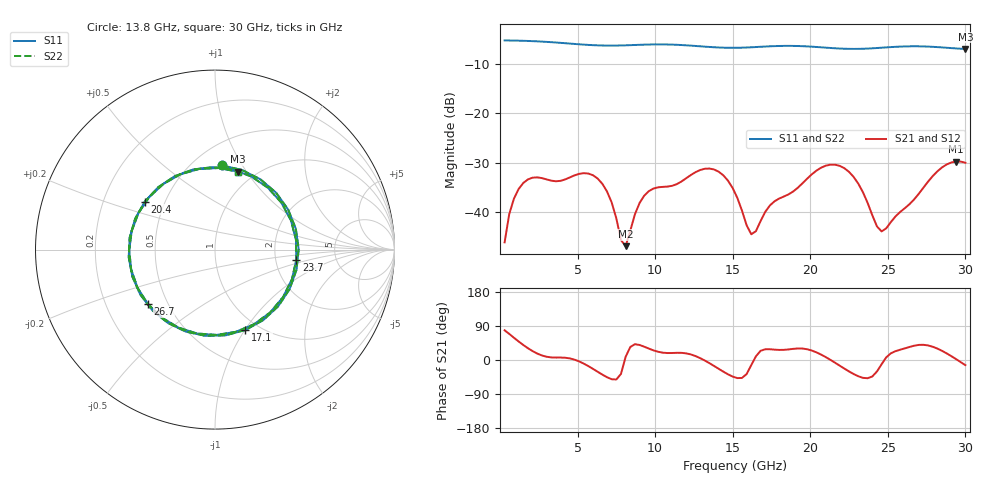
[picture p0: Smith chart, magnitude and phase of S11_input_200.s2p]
! Created Tue Apr 13 08:53:21 2021
# hz S ri R 50
! 2 Port Network Data from SP1.SP block
! freq  reS11  imS11  reS21  imS21  reS12  imS12  reS22  imS22
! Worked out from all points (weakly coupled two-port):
!   100 points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, 300 MHz to 30 GHz, reference 50 ohm
!   highest |S21| = -29.78 dB at 29.4 GHz (marker M1); lowest = -47.0 dB at 8.1 GHz (marker M2)
!   lowest |S11| = -6.9 dB at 30 GHz (marker M3), VSWR 2.65, Z = 42 + j45.8 ohm
!   |S11| at or under -10 dB: nowhere
!   |S22| runs from -6.9 to -5.2 dB; largest |S21 - S12| = 0
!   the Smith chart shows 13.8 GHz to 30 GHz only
!   S11 on the Smith chart (normalised r, x): 13.8 GHz: 0.68, +0.82; 17.1 GHz: 0.87, -1.01; 20.4 GHz: 0.39, +0.27; 23.7 GHz: 2.62, -0.37; 26.7 GHz: 0.39, -0.31; 30 GHz: 0.84, +0.92
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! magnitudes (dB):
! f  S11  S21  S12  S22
! 300 MHz  -5.2  -46.2  -46.2  -5.2
! 900 MHz  -5.2  -37.3  -37.3  -5.2
! 1.5 GHz  -5.2  -34.2  -34.2  -5.2
! 5.4 GHz  -6.0  -32.1  -32.1  -6.0
! 6.9 GHz  -6.2  -35.9  -35.9  -6.2
! 7.8 GHz  -6.2  -45.7  -45.7  -6.2
! 8.1 GHz  -6.2  -47.0  -47.0  -6.2
! 9 GHz  -6.0  -38.2  -38.2  -6.0
! 10.2 GHz  -6.0  -35.0  -35.0  -6.0
! 13.8 GHz  -6.5  -31.4  -31.4  -6.5
! 15.3 GHz  -6.6  -37.2  -37.2  -6.6
! 16.2 GHz  -6.6  -44.6  -44.6  -6.6
! 17.1 GHz  -6.4  -40.0  -40.0  -6.4
! 20.1 GHz  -6.4  -32.4  -32.4  -6.4
! 20.4 GHz  -6.5  -31.6  -31.6  -6.5
! 22.2 GHz  -6.8  -31.1  -31.1  -6.8
! 23.7 GHz  -6.8  -38.2  -38.2  -6.8
! 24.6 GHz  -6.6  -44.0  -44.0  -6.6
! 25.2 GHz  -6.5  -42.1  -42.1  -6.5
! 26.7 GHz  -6.3  -37.5  -37.5  -6.3
! 29.4 GHz  -6.8  -29.8  -29.8  -6.8
! 30 GHz  -6.9  -30.0  -30.0  -6.9
